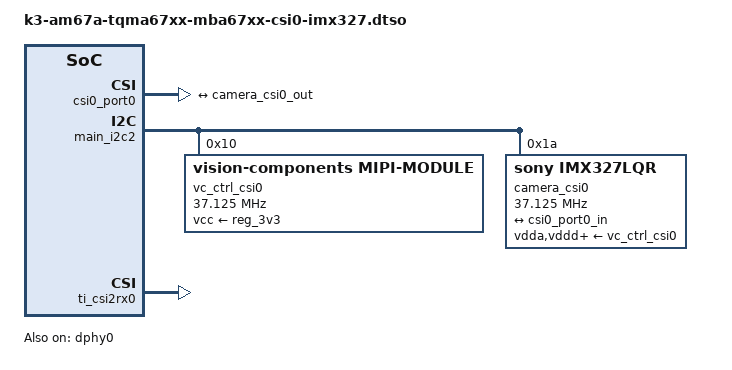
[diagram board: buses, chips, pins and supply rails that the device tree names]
// SPDX-License-Identifier: GPL-2.0-only OR MIT
/*
 * Copyright (c) 2025 TQ-Systems GmbH <linux@ew.tq-group.com>, D-82229 Seefeld, Germany.
 * Author: Matthias Schiffer
 */

#include <dt-bindings/media/video-interfaces.h>

/dts-v1/;
/plugin/;

&csi0_port0 {
	status = "okay";

	csi0_port0_in: endpoint {
		remote-endpoint = <&camera_csi0_out>;
		bus-type = <MEDIA_BUS_TYPE_CSI2_DPHY>;
		clock-lanes = <0>;
		data-lanes = <1 2>;
	};
};

&dphy0 {
	status = "okay";
};

&main_i2c2 {
	#address-cells = <1>;
	#size-cells = <0>;

	vc_ctrl_csi0: controller@10 {
		compatible = "vision-components,mipi-module";
		reg = <0x10>;
		#clock-cells = <0>;
		vcc-supply = <&reg_3v3>;
		clock-frequency = <37125000>;
	};

	camera_csi0: camera@1a {
		compatible = "sony,imx327lqr";
		reg = <0x1a>;
		clocks = <&vc_ctrl_csi0>;
		clock-names = "xclk";
		clock-frequency = <37125000>;
		orientation = <2>;
		rotation = <0>;
		use-single-read;
		vdda-supply = <&vc_ctrl_csi0>;
		vddd-supply = <&vc_ctrl_csi0>;
		vdddo-supply = <&vc_ctrl_csi0>;

		port {
			camera_csi0_out: endpoint {
				remote-endpoint = <&csi0_port0_in>;
				/* Both the AM67 and the IMX327 support up to 4
				 * lanes, but only two are connected in the
				 * adapter provided in the camera kit for the
				 * MBa67xx.
				 */
				data-lanes = <1 2>;
				clock-lanes = <0>;
				clock-noncontinuous;
				link-frequencies = /bits/ 64 <445500000 297000000>;
			};
		};
	};
};

&ti_csi2rx0 {
	status = "okay";
};
